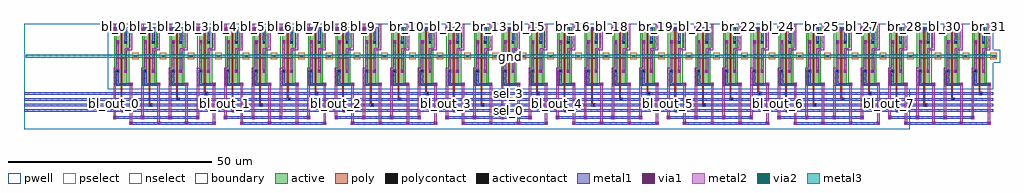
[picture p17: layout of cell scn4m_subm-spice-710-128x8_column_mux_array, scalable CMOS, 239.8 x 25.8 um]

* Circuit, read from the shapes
.subckt scn4m_subm-spice-710-128x8_column_mux_array bl_0 bl_1 bl_10 bl_11 bl_12 bl_13 bl_14 bl_15 bl_16 bl_17 bl_18 bl_19 bl_2 bl_20 bl_21 bl_22 bl_23 bl_24 bl_25 bl_26 bl_27 bl_28 bl_29 bl_3 bl_30 bl_31 bl_4 bl_5 bl_6 bl_7 bl_8 bl_9 bl_out_0 bl_out_1 bl_out_2 bl_out_3 bl_out_4 bl_out_5 bl_out_6 bl_out_7 br_0 br_1 br_10 br_11 br_12 br_13 br_14 br_15 br_16 br_17 br_18 br_19 br_2 br_20 br_21 br_22 br_23 br_24 br_25 br_26 br_27 br_28 br_29 br_3 br_30 br_31 br_4 br_5 br_6 br_7 br_8 br_9 br_out_0 br_out_1 br_out_2 br_out_3 br_out_4 br_out_5 br_out_6 br_out_7 gnd sel_0 sel_1 sel_2 sel_3
M1 br_0 sel_0 br_out_0 gnd nfet w=6.4u l=0.4u
M2 bl_0 sel_0 bl_out_0 gnd nfet w=6.4u l=0.4u
M3 br_1 sel_1 br_out_0 gnd nfet w=6.4u l=0.4u
M4 bl_1 sel_1 bl_out_0 gnd nfet w=6.4u l=0.4u
M5 br_2 sel_2 br_out_0 gnd nfet w=6.4u l=0.4u
M6 bl_2 sel_2 bl_out_0 gnd nfet w=6.4u l=0.4u
M7 br_3 sel_3 br_out_0 gnd nfet w=6.4u l=0.4u
M8 bl_3 sel_3 bl_out_0 gnd nfet w=6.4u l=0.4u
M9 br_4 sel_0 br_out_1 gnd nfet w=6.4u l=0.4u
M10 bl_4 sel_0 bl_out_1 gnd nfet w=6.4u l=0.4u
M11 br_5 sel_1 br_out_1 gnd nfet w=6.4u l=0.4u
M12 bl_5 sel_1 bl_out_1 gnd nfet w=6.4u l=0.4u
M13 br_6 sel_2 br_out_1 gnd nfet w=6.4u l=0.4u
M14 bl_6 sel_2 bl_out_1 gnd nfet w=6.4u l=0.4u
M15 br_7 sel_3 br_out_1 gnd nfet w=6.4u l=0.4u
M16 bl_7 sel_3 bl_out_1 gnd nfet w=6.4u l=0.4u
M17 br_8 sel_0 br_out_2 gnd nfet w=6.4u l=0.4u
M18 bl_8 sel_0 bl_out_2 gnd nfet w=6.4u l=0.4u
M19 br_9 sel_1 br_out_2 gnd nfet w=6.4u l=0.4u
M20 bl_9 sel_1 bl_out_2 gnd nfet w=6.4u l=0.4u
M21 br_10 sel_2 br_out_2 gnd nfet w=6.4u l=0.4u
M22 bl_10 sel_2 bl_out_2 gnd nfet w=6.4u l=0.4u
M23 br_11 sel_3 br_out_2 gnd nfet w=6.4u l=0.4u
M24 bl_11 sel_3 bl_out_2 gnd nfet w=6.4u l=0.4u
M25 br_12 sel_0 br_out_3 gnd nfet w=6.4u l=0.4u
M26 bl_12 sel_0 bl_out_3 gnd nfet w=6.4u l=0.4u
M27 br_13 sel_1 br_out_3 gnd nfet w=6.4u l=0.4u
M28 bl_13 sel_1 bl_out_3 gnd nfet w=6.4u l=0.4u
M29 br_14 sel_2 br_out_3 gnd nfet w=6.4u l=0.4u
M30 bl_14 sel_2 bl_out_3 gnd nfet w=6.4u l=0.4u
M31 br_15 sel_3 br_out_3 gnd nfet w=6.4u l=0.4u
M32 bl_15 sel_3 bl_out_3 gnd nfet w=6.4u l=0.4u
M33 br_16 sel_0 br_out_4 gnd nfet w=6.4u l=0.4u
M34 bl_16 sel_0 bl_out_4 gnd nfet w=6.4u l=0.4u
M35 br_17 sel_1 br_out_4 gnd nfet w=6.4u l=0.4u
M36 bl_17 sel_1 bl_out_4 gnd nfet w=6.4u l=0.4u
M37 br_18 sel_2 br_out_4 gnd nfet w=6.4u l=0.4u
M38 bl_18 sel_2 bl_out_4 gnd nfet w=6.4u l=0.4u
M39 br_19 sel_3 br_out_4 gnd nfet w=6.4u l=0.4u
M40 bl_19 sel_3 bl_out_4 gnd nfet w=6.4u l=0.4u
M41 br_20 sel_0 br_out_5 gnd nfet w=6.4u l=0.4u
M42 bl_20 sel_0 bl_out_5 gnd nfet w=6.4u l=0.4u
M43 br_21 sel_1 br_out_5 gnd nfet w=6.4u l=0.4u
M44 bl_21 sel_1 bl_out_5 gnd nfet w=6.4u l=0.4u
M45 br_22 sel_2 br_out_5 gnd nfet w=6.4u l=0.4u
M46 bl_22 sel_2 bl_out_5 gnd nfet w=6.4u l=0.4u
M47 br_23 sel_3 br_out_5 gnd nfet w=6.4u l=0.4u
M48 bl_23 sel_3 bl_out_5 gnd nfet w=6.4u l=0.4u
M49 br_24 sel_0 br_out_6 gnd nfet w=6.4u l=0.4u
M50 bl_24 sel_0 bl_out_6 gnd nfet w=6.4u l=0.4u
M51 br_25 sel_1 br_out_6 gnd nfet w=6.4u l=0.4u
M52 bl_25 sel_1 bl_out_6 gnd nfet w=6.4u l=0.4u
M53 br_26 sel_2 br_out_6 gnd nfet w=6.4u l=0.4u
M54 bl_26 sel_2 bl_out_6 gnd nfet w=6.4u l=0.4u
M55 br_27 sel_3 br_out_6 gnd nfet w=6.4u l=0.4u
M56 bl_27 sel_3 bl_out_6 gnd nfet w=6.4u l=0.4u
M57 br_28 sel_0 br_out_7 gnd nfet w=6.4u l=0.4u
M58 bl_28 sel_0 bl_out_7 gnd nfet w=6.4u l=0.4u
M59 br_29 sel_1 br_out_7 gnd nfet w=6.4u l=0.4u
M60 bl_29 sel_1 bl_out_7 gnd nfet w=6.4u l=0.4u
M61 br_30 sel_2 br_out_7 gnd nfet w=6.4u l=0.4u
M62 bl_30 sel_2 bl_out_7 gnd nfet w=6.4u l=0.4u
M63 br_31 sel_3 br_out_7 gnd nfet w=6.4u l=0.4u
M64 bl_31 sel_3 bl_out_7 gnd nfet w=6.4u l=0.4u
.ends

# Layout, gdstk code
import gdstk
lib = gdstk.Library(unit=1e-6, precision=1e-09)
def R(c, l, rs):  # rectangles x0, y0, x1, y1
    for r in rs: c.add(gdstk.rectangle(r[:2], r[2:], *l))
def A(c, l, x, y, w, h, nx, ny, dx, dy):  # array of equal rectangles
    R(c, l, [(x+i*dx, y+j*dy, x+i*dx+w, y+j*dy+h) for i in range(nx) for j in range(ny)])
pwell = (41, 0)
active = (43, 0)
pselect = (44, 0)
nselect = (45, 0)
poly = (46, 0)
polycontact = (47, 0)
activecontact = (48, 0)
metal1 = (49, 0)
via1 = (50, 0)
metal2 = (51, 0)
via2 = (61, 0)
metal3 = (62, 0)
boundary = (63, 0)

scn4m_subm_spice_710_128 = lib.new_cell('scn4m_subm-spice-710-128x8_contact_11')
R(scn4m_subm_spice_710_128, pwell, [(-1.2,-1.2,2,2)])
R(scn4m_subm_spice_710_128, active, [(0,0,0.8,0.8)])
R(scn4m_subm_spice_710_128, nselect, [(-0.4,-0.4,1.2,1.2)])
R(scn4m_subm_spice_710_128, activecontact, [(0.2,0.2,0.6,0.6)])
R(scn4m_subm_spice_710_128, metal1, [(0,0,0.8,0.8)])
R(scn4m_subm_spice_710_128, boundary, [(-1.2,-1.2,2,2)])

c_scn4m_subm_spice_710_128 = lib.new_cell('scn4m_subm-spice-710-128x8_nmos_m1_w6_400_sm1_dm1')
R(c_scn4m_subm_spice_710_128, pwell, [(-1.2,-1.2,4,7.6)])
R(c_scn4m_subm_spice_710_128, active, [(0,0,2.8,6.4)])
R(c_scn4m_subm_spice_710_128, nselect, [(-0.4,-0.4,3.2,6.8)])
R(c_scn4m_subm_spice_710_128, poly, [(1.2,-0.4,1.6,6.8), (1.2,-0.4,1.6,6.8)])
R(c_scn4m_subm_spice_710_128, metal1, [(0,2.8,0.8,3.6), (2,2.8,2.8,3.6)])
R(c_scn4m_subm_spice_710_128, boundary, [(-1.2,-1.2,4,7.6)])
c_scn4m_subm_spice_710_128.add(gdstk.Reference(scn4m_subm_spice_710_128, (0,2.8)))
c_scn4m_subm_spice_710_128.add(gdstk.Reference(scn4m_subm_spice_710_128, (2,2.8)))
c_scn4m_subm_spice_710_128.add(gdstk.Label('G', (1.4,3.2), layer=46, texttype=0))
c_scn4m_subm_spice_710_128.add(gdstk.Label('S', (0.4,3.2), layer=49, texttype=0))
c_scn4m_subm_spice_710_128.add(gdstk.Label('D', (2.4,3.2), layer=49, texttype=0))

c_scn4m_subm_spice_710_128_ = lib.new_cell('scn4m_subm-spice-710-128x8_contact_18')
R(c_scn4m_subm_spice_710_128_, metal1, [(0,0,0.8,0.8)])
R(c_scn4m_subm_spice_710_128_, via1, [(0.2,0.2,0.6,0.6)])
R(c_scn4m_subm_spice_710_128_, metal2, [(0,0,0.8,0.8)])
R(c_scn4m_subm_spice_710_128_, boundary, [(0,0,0.8,0.8)])

c_scn4m_subm_spice_710_128__ = lib.new_cell('scn4m_subm-spice-710-128x8_contact_25')
R(c_scn4m_subm_spice_710_128__, pwell, [(-1.2,-1.2,2,2)])
R(c_scn4m_subm_spice_710_128__, active, [(0,0,0.8,0.8)])
R(c_scn4m_subm_spice_710_128__, pselect, [(-0.4,-0.4,1.2,1.2)])
R(c_scn4m_subm_spice_710_128__, activecontact, [(0.2,0.2,0.6,0.6)])
R(c_scn4m_subm_spice_710_128__, metal1, [(0,0,0.8,0.8)])
R(c_scn4m_subm_spice_710_128__, boundary, [(-1.2,-1.2,2,2)])

c_scn4m_subm_spice_710_128___ = lib.new_cell('scn4m_subm-spice-710-128x8_column_mux')
R(c_scn4m_subm_spice_710_128___, pwell, [(0,0,6.8,16)])
R(c_scn4m_subm_spice_710_128___, poly, [(3.2,0.8,3.6,1.2), (3.2,7.6,3.6,8.4)])
R(c_scn4m_subm_spice_710_128___, metal1, [(2.1,0.9,2.7,1.5), (2.4,0.9,5.7,1.5), (2.1,1.2,2.7,4.4), (6.5,7.8,7.1,8.4), (4.1,11.6,4.7,14.8), (1.4,14.5,4.4,15.1), (4.1,14.5,4.7,15.1)])
R(c_scn4m_subm_spice_710_128___, metal2, [(1.4,0,2,1.2), (5.4,0,6,1.2), (1.4,1.2,2,5), (4.1,4.4,4.7,9.8), (1.4,4.7,2,5.3), (1.7,4.7,2.4,5.3), (2.1,4.7,2.7,5.3), (2.1,5,2.7,11.6), (4.1,9.5,4.7,10.1), (4.4,9.5,5.7,10.1), (5.4,9.5,6,10.1), (5.4,9.8,6,14.8), (1.4,14.8,2,16), (5.4,14.8,6,16)])
R(c_scn4m_subm_spice_710_128___, boundary, [(0,0,6.8,16)])
c_scn4m_subm_spice_710_128___.add(gdstk.Reference(c_scn4m_subm_spice_710_128, (2,1.2)))
c_scn4m_subm_spice_710_128___.add(gdstk.Reference(c_scn4m_subm_spice_710_128, (2,8.4)))
c_scn4m_subm_spice_710_128___.add(gdstk.Reference(c_scn4m_subm_spice_710_128_, (1.3,14.4)))
c_scn4m_subm_spice_710_128___.add(gdstk.Reference(c_scn4m_subm_spice_710_128_, (5.3,0.8)))
c_scn4m_subm_spice_710_128___.add(gdstk.Reference(c_scn4m_subm_spice_710_128_, (2,11.2)))
c_scn4m_subm_spice_710_128___.add(gdstk.Reference(c_scn4m_subm_spice_710_128_, (4,4)))
c_scn4m_subm_spice_710_128___.add(gdstk.Reference(c_scn4m_subm_spice_710_128__, (6.4,7.7)))
c_scn4m_subm_spice_710_128___.add(gdstk.Reference(c_scn4m_subm_spice_710_128_, (6.4,7.7)))
c_scn4m_subm_spice_710_128___.add(gdstk.Label('sel', (3.4,1), layer=46, texttype=0))
c_scn4m_subm_spice_710_128___.add(gdstk.Label('bl', (1.7,15.4), layer=51, texttype=0))
c_scn4m_subm_spice_710_128___.add(gdstk.Label('br', (5.7,15.4), layer=51, texttype=0))
c_scn4m_subm_spice_710_128___.add(gdstk.Label('bl_out', (1.7,0.6), layer=51, texttype=0))
c_scn4m_subm_spice_710_128___.add(gdstk.Label('br_out', (5.7,0.6), layer=51, texttype=0))
c_scn4m_subm_spice_710_128___.add(gdstk.Label('gnd', (6.8,8.1), layer=49, texttype=0))

c_scn4m_subm_spice_710_128____ = lib.new_cell('scn4m_subm-spice-710-128x8_contact_26')
R(c_scn4m_subm_spice_710_128____, poly, [(0,0,0.8,0.8)])
R(c_scn4m_subm_spice_710_128____, polycontact, [(0.2,0.2,0.6,0.6)])
R(c_scn4m_subm_spice_710_128____, metal1, [(0,0,0.8,0.8)])
R(c_scn4m_subm_spice_710_128____, boundary, [(0,0,0.8,0.8)])

c_scn4m_subm_spice_710_128_____ = lib.new_cell('scn4m_subm-spice-710-128x8_contact_16')
R(c_scn4m_subm_spice_710_128_____, metal1, [(0,0,0.8,0.8)])
R(c_scn4m_subm_spice_710_128_____, via1, [(0.2,0.2,0.6,0.6)])
R(c_scn4m_subm_spice_710_128_____, metal2, [(0,0,0.8,0.8)])
R(c_scn4m_subm_spice_710_128_____, boundary, [(0,0,0.8,0.8)])

c_scn4m_subm_spice_710_128______ = lib.new_cell('scn4m_subm-spice-710-128x8_contact_19')
R(c_scn4m_subm_spice_710_128______, metal2, [(0,0,0.8,0.8)])
R(c_scn4m_subm_spice_710_128______, via2, [(0.2,0.2,0.6,0.6)])
R(c_scn4m_subm_spice_710_128______, metal3, [(0,0,0.8,0.8)])
R(c_scn4m_subm_spice_710_128______, boundary, [(0,0,0.8,0.8)])

c_scn4m_subm_spice_710_128_______ = lib.new_cell('scn4m_subm-spice-710-128x8_column_mux_array')
R(c_scn4m_subm_spice_710_128_______, pwell, [(20.6,9.8,238.2,25.8)])
A(c_scn4m_subm_spice_710_128_______, poly, 23.8, 4.3, 0.4, 0.4, 8, 1, 27.2, 0)
A(c_scn4m_subm_spice_710_128_______, poly, 24, 4.3, 0.3, 0.4, 8, 1, 27.2, 0)
A(c_scn4m_subm_spice_710_128_______, poly, 30.6, 5.7, 0.4, 0.4, 8, 1, 27.2, 0)
A(c_scn4m_subm_spice_710_128_______, poly, 30.8, 5.7, 0.3, 0.4, 8, 1, 27.2, 0)
A(c_scn4m_subm_spice_710_128_______, poly, 37.4, 7.1, 0.4, 0.4, 8, 1, 27.2, 0)
A(c_scn4m_subm_spice_710_128_______, poly, 37.6, 7.1, 0.3, 0.4, 8, 1, 27.2, 0)
A(c_scn4m_subm_spice_710_128_______, poly, 44.2, 8.5, 0.4, 0.4, 8, 1, 27.2, 0)
A(c_scn4m_subm_spice_710_128_______, poly, 44.4, 8.5, 0.3, 0.4, 8, 1, 27.2, 0)
R(c_scn4m_subm_spice_710_128_______, poly, [(23.8,4.5,24.2,10.6), (23.8,4.5,24.2,10.6), (51,4.5,51.4,10.6), (51,4.5,51.4,10.6), (78.2,4.5,78.6,10.6), (78.2,4.5,78.6,10.6), (105.4,4.5,105.8,10.6), (105.4,4.5,105.8,10.6), (132.6,4.5,133,10.6), (132.6,4.5,133,10.6), (159.8,4.5,160.2,10.6), (159.8,4.5,160.2,10.6), (187,4.5,187.4,10.6), (187,4.5,187.4,10.6), (214.2,4.5,214.6,10.6), (214.2,4.5,214.6,10.6), (30.6,5.9,31,10.6), (30.6,5.9,31,10.6), (57.8,5.9,58.2,10.6), (57.8,5.9,58.2,10.6), (85,5.9,85.4,10.6), (85,5.9,85.4,10.6), (112.2,5.9,112.6,10.6), (112.2,5.9,112.6,10.6), (139.4,5.9,139.8,10.6), (139.4,5.9,139.8,10.6), (166.6,5.9,167,10.6), (166.6,5.9,167,10.6), (193.8,5.9,194.2,10.6), (193.8,5.9,194.2,10.6), (221,5.9,221.4,10.6), (221,5.9,221.4,10.6), (37.4,7.3,37.8,10.6), (37.4,7.3,37.8,10.6), (64.6,7.3,65,10.6), (64.6,7.3,65,10.6), (91.8,7.3,92.2,10.6), (91.8,7.3,92.2,10.6), (119,7.3,119.4,10.6), (119,7.3,119.4,10.6), (146.2,7.3,146.6,10.6), (146.2,7.3,146.6,10.6), (173.4,7.3,173.8,10.6), (173.4,7.3,173.8,10.6), (200.6,7.3,201,10.6), (200.6,7.3,201,10.6), (227.8,7.3,228.2,10.6), (227.8,7.3,228.2,10.6), (44.2,8.7,44.6,10.6), (44.2,8.7,44.6,10.6), (71.4,8.7,71.8,10.6), (71.4,8.7,71.8,10.6), (98.6,8.7,99,10.6), (98.6,8.7,99,10.6), (125.8,8.7,126.2,10.6), (125.8,8.7,126.2,10.6), (153,8.7,153.4,10.6), (153,8.7,153.4,10.6), (180.2,8.7,180.6,10.6), (180.2,8.7,180.6,10.6), (207.4,8.7,207.8,10.6), (207.4,8.7,207.8,10.6), (234.6,8.7,235,10.6), (234.6,8.7,235,10.6)])
A(c_scn4m_subm_spice_710_128_______, metal1, 26.3, 1.1, 20.4, 0.6, 8, 1, 27.2, 0)
A(c_scn4m_subm_spice_710_128_______, metal1, 22.3, 2.5, 20.4, 0.6, 8, 1, 27.2, 0)
A(c_scn4m_subm_spice_710_128_______, metal1, 0, 4.2, 238.2, 0.6, 1, 4, 0, 1.4)
A(c_scn4m_subm_spice_710_128_______, metal2, 26, 1.4, 0.6, 8.4, 32, 1, 6.8, 0)
A(c_scn4m_subm_spice_710_128_______, metal2, 22, 2.8, 0.6, 7, 32, 1, 6.8, 0)
R(c_scn4m_subm_spice_710_128_______, metal2, [(22,24.6,22.6,25.8), (26,24.6,26.6,25.8), (28.8,24.6,29.4,25.8), (32.8,24.6,33.4,25.8), (35.6,24.6,36.2,25.8), (39.6,24.6,40.2,25.8), (42.4,24.6,43,25.8), (46.4,24.6,47,25.8), (49.2,24.6,49.8,25.8), (53.2,24.6,53.8,25.8), (56,24.6,56.6,25.8), (60,24.6,60.6,25.8), (62.8,24.6,63.4,25.8), (66.8,24.6,67.4,25.8), (69.6,24.6,70.2,25.8), (73.6,24.6,74.2,25.8), (76.4,24.6,77,25.8), (80.4,24.6,81,25.8), (83.2,24.6,83.8,25.8), (87.2,24.6,87.8,25.8), (90,24.6,90.6,25.8), (94,24.6,94.6,25.8), (96.8,24.6,97.4,25.8), (100.8,24.6,101.4,25.8), (103.6,24.6,104.2,25.8), (107.6,24.6,108.2,25.8), (110.4,24.6,111,25.8), (114.4,24.6,115,25.8), (117.2,24.6,117.8,25.8), (121.2,24.6,121.8,25.8), (124,24.6,124.6,25.8), (128,24.6,128.6,25.8), (130.8,24.6,131.4,25.8), (134.8,24.6,135.4,25.8), (137.6,24.6,138.2,25.8), (141.6,24.6,142.2,25.8), (144.4,24.6,145,25.8), (148.4,24.6,149,25.8), (151.2,24.6,151.8,25.8), (155.2,24.6,155.8,25.8), (158,24.6,158.6,25.8), (162,24.6,162.6,25.8), (164.8,24.6,165.4,25.8), (168.8,24.6,169.4,25.8), (171.6,24.6,172.2,25.8), (175.6,24.6,176.2,25.8), (178.4,24.6,179,25.8), (182.4,24.6,183,25.8), (185.2,24.6,185.8,25.8), (189.2,24.6,189.8,25.8), (192,24.6,192.6,25.8), (196,24.6,196.6,25.8), (198.8,24.6,199.4,25.8), (202.8,24.6,203.4,25.8), (205.6,24.6,206.2,25.8), (209.6,24.6,210.2,25.8), (212.4,24.6,213,25.8), (216.4,24.6,217,25.8), (219.2,24.6,219.8,25.8), (223.2,24.6,223.8,25.8), (226,24.6,226.6,25.8), (230,24.6,230.6,25.8), (232.8,24.6,233.4,25.8), (236.8,24.6,237.4,25.8)])
R(c_scn4m_subm_spice_710_128_______, metal3, [(0.4,17.5,238.9,18.3)])
R(c_scn4m_subm_spice_710_128_______, boundary, [(0,0,217.6,25.8)])
c_scn4m_subm_spice_710_128_______.add(gdstk.Reference(c_scn4m_subm_spice_710_128___, (20.6,9.8)))
c_scn4m_subm_spice_710_128_______.add(gdstk.Reference(c_scn4m_subm_spice_710_128___, (27.4,9.8)))
c_scn4m_subm_spice_710_128_______.add(gdstk.Reference(c_scn4m_subm_spice_710_128___, (34.2,9.8)))
c_scn4m_subm_spice_710_128_______.add(gdstk.Reference(c_scn4m_subm_spice_710_128___, (41,9.8)))
c_scn4m_subm_spice_710_128_______.add(gdstk.Reference(c_scn4m_subm_spice_710_128___, (47.8,9.8)))
c_scn4m_subm_spice_710_128_______.add(gdstk.Reference(c_scn4m_subm_spice_710_128___, (54.6,9.8)))
c_scn4m_subm_spice_710_128_______.add(gdstk.Reference(c_scn4m_subm_spice_710_128___, (61.4,9.8)))
c_scn4m_subm_spice_710_128_______.add(gdstk.Reference(c_scn4m_subm_spice_710_128___, (68.2,9.8)))
c_scn4m_subm_spice_710_128_______.add(gdstk.Reference(c_scn4m_subm_spice_710_128___, (75,9.8)))
c_scn4m_subm_spice_710_128_______.add(gdstk.Reference(c_scn4m_subm_spice_710_128___, (81.8,9.8)))
c_scn4m_subm_spice_710_128_______.add(gdstk.Reference(c_scn4m_subm_spice_710_128___, (88.6,9.8)))
c_scn4m_subm_spice_710_128_______.add(gdstk.Reference(c_scn4m_subm_spice_710_128___, (95.4,9.8)))
c_scn4m_subm_spice_710_128_______.add(gdstk.Reference(c_scn4m_subm_spice_710_128___, (102.2,9.8)))
c_scn4m_subm_spice_710_128_______.add(gdstk.Reference(c_scn4m_subm_spice_710_128___, (109,9.8)))
c_scn4m_subm_spice_710_128_______.add(gdstk.Reference(c_scn4m_subm_spice_710_128___, (115.8,9.8)))
c_scn4m_subm_spice_710_128_______.add(gdstk.Reference(c_scn4m_subm_spice_710_128___, (122.6,9.8)))
c_scn4m_subm_spice_710_128_______.add(gdstk.Reference(c_scn4m_subm_spice_710_128___, (129.4,9.8)))
c_scn4m_subm_spice_710_128_______.add(gdstk.Reference(c_scn4m_subm_spice_710_128___, (136.2,9.8)))
c_scn4m_subm_spice_710_128_______.add(gdstk.Reference(c_scn4m_subm_spice_710_128___, (143,9.8)))
c_scn4m_subm_spice_710_128_______.add(gdstk.Reference(c_scn4m_subm_spice_710_128___, (149.8,9.8)))
c_scn4m_subm_spice_710_128_______.add(gdstk.Reference(c_scn4m_subm_spice_710_128___, (156.6,9.8)))
c_scn4m_subm_spice_710_128_______.add(gdstk.Reference(c_scn4m_subm_spice_710_128___, (163.4,9.8)))
c_scn4m_subm_spice_710_128_______.add(gdstk.Reference(c_scn4m_subm_spice_710_128___, (170.2,9.8)))
c_scn4m_subm_spice_710_128_______.add(gdstk.Reference(c_scn4m_subm_spice_710_128___, (177,9.8)))
c_scn4m_subm_spice_710_128_______.add(gdstk.Reference(c_scn4m_subm_spice_710_128___, (183.8,9.8)))
c_scn4m_subm_spice_710_128_______.add(gdstk.Reference(c_scn4m_subm_spice_710_128___, (190.6,9.8)))
c_scn4m_subm_spice_710_128_______.add(gdstk.Reference(c_scn4m_subm_spice_710_128___, (197.4,9.8)))
c_scn4m_subm_spice_710_128_______.add(gdstk.Reference(c_scn4m_subm_spice_710_128___, (204.2,9.8)))
c_scn4m_subm_spice_710_128_______.add(gdstk.Reference(c_scn4m_subm_spice_710_128___, (211,9.8)))
c_scn4m_subm_spice_710_128_______.add(gdstk.Reference(c_scn4m_subm_spice_710_128___, (217.8,9.8)))
c_scn4m_subm_spice_710_128_______.add(gdstk.Reference(c_scn4m_subm_spice_710_128___, (224.6,9.8)))
c_scn4m_subm_spice_710_128_______.add(gdstk.Reference(c_scn4m_subm_spice_710_128___, (231.4,9.8)))
c_scn4m_subm_spice_710_128_______.add(gdstk.Reference(c_scn4m_subm_spice_710_128____, (23.9,4.1)))
c_scn4m_subm_spice_710_128_______.add(gdstk.Reference(c_scn4m_subm_spice_710_128____, (30.7,5.5)))
c_scn4m_subm_spice_710_128_______.add(gdstk.Reference(c_scn4m_subm_spice_710_128____, (37.5,6.9)))
c_scn4m_subm_spice_710_128_______.add(gdstk.Reference(c_scn4m_subm_spice_710_128____, (44.3,8.3)))
c_scn4m_subm_spice_710_128_______.add(gdstk.Reference(c_scn4m_subm_spice_710_128____, (51.1,4.1)))
c_scn4m_subm_spice_710_128_______.add(gdstk.Reference(c_scn4m_subm_spice_710_128____, (57.9,5.5)))
c_scn4m_subm_spice_710_128_______.add(gdstk.Reference(c_scn4m_subm_spice_710_128____, (64.7,6.9)))
c_scn4m_subm_spice_710_128_______.add(gdstk.Reference(c_scn4m_subm_spice_710_128____, (71.5,8.3)))
c_scn4m_subm_spice_710_128_______.add(gdstk.Reference(c_scn4m_subm_spice_710_128____, (78.3,4.1)))
c_scn4m_subm_spice_710_128_______.add(gdstk.Reference(c_scn4m_subm_spice_710_128____, (85.1,5.5)))
c_scn4m_subm_spice_710_128_______.add(gdstk.Reference(c_scn4m_subm_spice_710_128____, (91.9,6.9)))
c_scn4m_subm_spice_710_128_______.add(gdstk.Reference(c_scn4m_subm_spice_710_128____, (98.7,8.3)))
c_scn4m_subm_spice_710_128_______.add(gdstk.Reference(c_scn4m_subm_spice_710_128____, (105.5,4.1)))
c_scn4m_subm_spice_710_128_______.add(gdstk.Reference(c_scn4m_subm_spice_710_128____, (112.3,5.5)))
c_scn4m_subm_spice_710_128_______.add(gdstk.Reference(c_scn4m_subm_spice_710_128____, (119.1,6.9)))
c_scn4m_subm_spice_710_128_______.add(gdstk.Reference(c_scn4m_subm_spice_710_128____, (125.9,8.3)))
c_scn4m_subm_spice_710_128_______.add(gdstk.Reference(c_scn4m_subm_spice_710_128____, (132.7,4.1)))
c_scn4m_subm_spice_710_128_______.add(gdstk.Reference(c_scn4m_subm_spice_710_128____, (139.5,5.5)))
c_scn4m_subm_spice_710_128_______.add(gdstk.Reference(c_scn4m_subm_spice_710_128____, (146.3,6.9)))
c_scn4m_subm_spice_710_128_______.add(gdstk.Reference(c_scn4m_subm_spice_710_128____, (153.1,8.3)))
c_scn4m_subm_spice_710_128_______.add(gdstk.Reference(c_scn4m_subm_spice_710_128____, (159.9,4.1)))
c_scn4m_subm_spice_710_128_______.add(gdstk.Reference(c_scn4m_subm_spice_710_128____, (166.7,5.5)))
c_scn4m_subm_spice_710_128_______.add(gdstk.Reference(c_scn4m_subm_spice_710_128____, (173.5,6.9)))
c_scn4m_subm_spice_710_128_______.add(gdstk.Reference(c_scn4m_subm_spice_710_128____, (180.3,8.3)))
c_scn4m_subm_spice_710_128_______.add(gdstk.Reference(c_scn4m_subm_spice_710_128____, (187.1,4.1)))
c_scn4m_subm_spice_710_128_______.add(gdstk.Reference(c_scn4m_subm_spice_710_128____, (193.9,5.5)))
c_scn4m_subm_spice_710_128_______.add(gdstk.Reference(c_scn4m_subm_spice_710_128____, (200.7,6.9)))
c_scn4m_subm_spice_710_128_______.add(gdstk.Reference(c_scn4m_subm_spice_710_128____, (207.5,8.3)))
c_scn4m_subm_spice_710_128_______.add(gdstk.Reference(c_scn4m_subm_spice_710_128____, (214.3,4.1)))
c_scn4m_subm_spice_710_128_______.add(gdstk.Reference(c_scn4m_subm_spice_710_128____, (221.1,5.5)))
c_scn4m_subm_spice_710_128_______.add(gdstk.Reference(c_scn4m_subm_spice_710_128____, (227.9,6.9)))
c_scn4m_subm_spice_710_128_______.add(gdstk.Reference(c_scn4m_subm_spice_710_128____, (234.7,8.3)))
c_scn4m_subm_spice_710_128_______.add(gdstk.Reference(c_scn4m_subm_spice_710_128_____, (21.9,2.4)))
c_scn4m_subm_spice_710_128_______.add(gdstk.Reference(c_scn4m_subm_spice_710_128_____, (25.9,1)))
c_scn4m_subm_spice_710_128_______.add(gdstk.Reference(c_scn4m_subm_spice_710_128_____, (28.7,2.4)))
c_scn4m_subm_spice_710_128_______.add(gdstk.Reference(c_scn4m_subm_spice_710_128_____, (32.7,1)))
c_scn4m_subm_spice_710_128_______.add(gdstk.Reference(c_scn4m_subm_spice_710_128_____, (35.5,2.4)))
c_scn4m_subm_spice_710_128_______.add(gdstk.Reference(c_scn4m_subm_spice_710_128_____, (39.5,1)))
c_scn4m_subm_spice_710_128_______.add(gdstk.Reference(c_scn4m_subm_spice_710_128_____, (42.3,2.4)))
c_scn4m_subm_spice_710_128_______.add(gdstk.Reference(c_scn4m_subm_spice_710_128_____, (46.3,1)))
c_scn4m_subm_spice_710_128_______.add(gdstk.Reference(c_scn4m_subm_spice_710_128_____, (49.1,2.4)))
c_scn4m_subm_spice_710_128_______.add(gdstk.Reference(c_scn4m_subm_spice_710_128_____, (53.1,1)))
c_scn4m_subm_spice_710_128_______.add(gdstk.Reference(c_scn4m_subm_spice_710_128_____, (55.9,2.4)))
c_scn4m_subm_spice_710_128_______.add(gdstk.Reference(c_scn4m_subm_spice_710_128_____, (59.9,1)))
c_scn4m_subm_spice_710_128_______.add(gdstk.Reference(c_scn4m_subm_spice_710_128_____, (62.7,2.4)))
c_scn4m_subm_spice_710_128_______.add(gdstk.Reference(c_scn4m_subm_spice_710_128_____, (66.7,1)))
c_scn4m_subm_spice_710_128_______.add(gdstk.Reference(c_scn4m_subm_spice_710_128_____, (69.5,2.4)))
c_scn4m_subm_spice_710_128_______.add(gdstk.Reference(c_scn4m_subm_spice_710_128_____, (73.5,1)))
c_scn4m_subm_spice_710_128_______.add(gdstk.Reference(c_scn4m_subm_spice_710_128_____, (76.3,2.4)))
c_scn4m_subm_spice_710_128_______.add(gdstk.Reference(c_scn4m_subm_spice_710_128_____, (80.3,1)))
c_scn4m_subm_spice_710_128_______.add(gdstk.Reference(c_scn4m_subm_spice_710_128_____, (83.1,2.4)))
c_scn4m_subm_spice_710_128_______.add(gdstk.Reference(c_scn4m_subm_spice_710_128_____, (87.1,1)))
c_scn4m_subm_spice_710_128_______.add(gdstk.Reference(c_scn4m_subm_spice_710_128_____, (89.9,2.4)))
c_scn4m_subm_spice_710_128_______.add(gdstk.Reference(c_scn4m_subm_spice_710_128_____, (93.9,1)))
c_scn4m_subm_spice_710_128_______.add(gdstk.Reference(c_scn4m_subm_spice_710_128_____, (96.7,2.4)))
c_scn4m_subm_spice_710_128_______.add(gdstk.Reference(c_scn4m_subm_spice_710_128_____, (100.7,1)))
c_scn4m_subm_spice_710_128_______.add(gdstk.Reference(c_scn4m_subm_spice_710_128_____, (103.5,2.4)))
c_scn4m_subm_spice_710_128_______.add(gdstk.Reference(c_scn4m_subm_spice_710_128_____, (107.5,1)))
c_scn4m_subm_spice_710_128_______.add(gdstk.Reference(c_scn4m_subm_spice_710_128_____, (110.3,2.4)))
c_scn4m_subm_spice_710_128_______.add(gdstk.Reference(c_scn4m_subm_spice_710_128_____, (114.3,1)))
c_scn4m_subm_spice_710_128_______.add(gdstk.Reference(c_scn4m_subm_spice_710_128_____, (117.1,2.4)))
c_scn4m_subm_spice_710_128_______.add(gdstk.Reference(c_scn4m_subm_spice_710_128_____, (121.1,1)))
c_scn4m_subm_spice_710_128_______.add(gdstk.Reference(c_scn4m_subm_spice_710_128_____, (123.9,2.4)))
c_scn4m_subm_spice_710_128_______.add(gdstk.Reference(c_scn4m_subm_spice_710_128_____, (127.9,1)))
c_scn4m_subm_spice_710_128_______.add(gdstk.Reference(c_scn4m_subm_spice_710_128_____, (130.7,2.4)))
c_scn4m_subm_spice_710_128_______.add(gdstk.Reference(c_scn4m_subm_spice_710_128_____, (134.7,1)))
c_scn4m_subm_spice_710_128_______.add(gdstk.Reference(c_scn4m_subm_spice_710_128_____, (137.5,2.4)))
c_scn4m_subm_spice_710_128_______.add(gdstk.Reference(c_scn4m_subm_spice_710_128_____, (141.5,1)))
c_scn4m_subm_spice_710_128_______.add(gdstk.Reference(c_scn4m_subm_spice_710_128_____, (144.3,2.4)))
c_scn4m_subm_spice_710_128_______.add(gdstk.Reference(c_scn4m_subm_spice_710_128_____, (148.3,1)))
c_scn4m_subm_spice_710_128_______.add(gdstk.Reference(c_scn4m_subm_spice_710_128_____, (151.1,2.4)))
c_scn4m_subm_spice_710_128_______.add(gdstk.Reference(c_scn4m_subm_spice_710_128_____, (155.1,1)))
c_scn4m_subm_spice_710_128_______.add(gdstk.Reference(c_scn4m_subm_spice_710_128_____, (157.9,2.4)))
c_scn4m_subm_spice_710_128_______.add(gdstk.Reference(c_scn4m_subm_spice_710_128_____, (161.9,1)))
c_scn4m_subm_spice_710_128_______.add(gdstk.Reference(c_scn4m_subm_spice_710_128_____, (164.7,2.4)))
c_scn4m_subm_spice_710_128_______.add(gdstk.Reference(c_scn4m_subm_spice_710_128_____, (168.7,1)))
c_scn4m_subm_spice_710_128_______.add(gdstk.Reference(c_scn4m_subm_spice_710_128_____, (171.5,2.4)))
c_scn4m_subm_spice_710_128_______.add(gdstk.Reference(c_scn4m_subm_spice_710_128_____, (175.5,1)))
c_scn4m_subm_spice_710_128_______.add(gdstk.Reference(c_scn4m_subm_spice_710_128_____, (178.3,2.4)))
c_scn4m_subm_spice_710_128_______.add(gdstk.Reference(c_scn4m_subm_spice_710_128_____, (182.3,1)))
c_scn4m_subm_spice_710_128_______.add(gdstk.Reference(c_scn4m_subm_spice_710_128_____, (185.1,2.4)))
c_scn4m_subm_spice_710_128_______.add(gdstk.Reference(c_scn4m_subm_spice_710_128_____, (189.1,1)))
c_scn4m_subm_spice_710_128_______.add(gdstk.Reference(c_scn4m_subm_spice_710_128_____, (191.9,2.4)))
c_scn4m_subm_spice_710_128_______.add(gdstk.Reference(c_scn4m_subm_spice_710_128_____, (195.9,1)))
c_scn4m_subm_spice_710_128_______.add(gdstk.Reference(c_scn4m_subm_spice_710_128_____, (198.7,2.4)))
c_scn4m_subm_spice_710_128_______.add(gdstk.Reference(c_scn4m_subm_spice_710_128_____, (202.7,1)))
c_scn4m_subm_spice_710_128_______.add(gdstk.Reference(c_scn4m_subm_spice_710_128_____, (205.5,2.4)))
c_scn4m_subm_spice_710_128_______.add(gdstk.Reference(c_scn4m_subm_spice_710_128_____, (209.5,1)))
c_scn4m_subm_spice_710_128_______.add(gdstk.Reference(c_scn4m_subm_spice_710_128_____, (212.3,2.4)))
c_scn4m_subm_spice_710_128_______.add(gdstk.Reference(c_scn4m_subm_spice_710_128_____, (216.3,1)))
c_scn4m_subm_spice_710_128_______.add(gdstk.Reference(c_scn4m_subm_spice_710_128_____, (219.1,2.4)))
c_scn4m_subm_spice_710_128_______.add(gdstk.Reference(c_scn4m_subm_spice_710_128_____, (223.1,1)))
c_scn4m_subm_spice_710_128_______.add(gdstk.Reference(c_scn4m_subm_spice_710_128_____, (225.9,2.4)))
c_scn4m_subm_spice_710_128_______.add(gdstk.Reference(c_scn4m_subm_spice_710_128_____, (229.9,1)))
c_scn4m_subm_spice_710_128_______.add(gdstk.Reference(c_scn4m_subm_spice_710_128_____, (232.7,2.4)))
c_scn4m_subm_spice_710_128_______.add(gdstk.Reference(c_scn4m_subm_spice_710_128_____, (236.7,1)))
c_scn4m_subm_spice_710_128_______.add(gdstk.Reference(c_scn4m_subm_spice_710_128_, (27,17.5)))
c_scn4m_subm_spice_710_128_______.add(gdstk.Reference(c_scn4m_subm_spice_710_128______, (27,17.5)))
c_scn4m_subm_spice_710_128_______.add(gdstk.Reference(c_scn4m_subm_spice_710_128_, (33.8,17.5)))
c_scn4m_subm_spice_710_128_______.add(gdstk.Reference(c_scn4m_subm_spice_710_128______, (33.8,17.5)))
c_scn4m_subm_spice_710_128_______.add(gdstk.Reference(c_scn4m_subm_spice_710_128_, (40.6,17.5)))
c_scn4m_subm_spice_710_128_______.add(gdstk.Reference(c_scn4m_subm_spice_710_128______, (40.6,17.5)))
c_scn4m_subm_spice_710_128_______.add(gdstk.Reference(c_scn4m_subm_spice_710_128_, (47.4,17.5)))
c_scn4m_subm_spice_710_128_______.add(gdstk.Reference(c_scn4m_subm_spice_710_128______, (47.4,17.5)))
c_scn4m_subm_spice_710_128_______.add(gdstk.Reference(c_scn4m_subm_spice_710_128_, (54.2,17.5)))
c_scn4m_subm_spice_710_128_______.add(gdstk.Reference(c_scn4m_subm_spice_710_128______, (54.2,17.5)))
c_scn4m_subm_spice_710_128_______.add(gdstk.Reference(c_scn4m_subm_spice_710_128_, (61,17.5)))
c_scn4m_subm_spice_710_128_______.add(gdstk.Reference(c_scn4m_subm_spice_710_128______, (61,17.5)))
c_scn4m_subm_spice_710_128_______.add(gdstk.Reference(c_scn4m_subm_spice_710_128_, (67.8,17.5)))
c_scn4m_subm_spice_710_128_______.add(gdstk.Reference(c_scn4m_subm_spice_710_128______, (67.8,17.5)))
c_scn4m_subm_spice_710_128_______.add(gdstk.Reference(c_scn4m_subm_spice_710_128_, (74.6,17.5)))
c_scn4m_subm_spice_710_128_______.add(gdstk.Reference(c_scn4m_subm_spice_710_128______, (74.6,17.5)))
c_scn4m_subm_spice_710_128_______.add(gdstk.Reference(c_scn4m_subm_spice_710_128_, (81.4,17.5)))
c_scn4m_subm_spice_710_128_______.add(gdstk.Reference(c_scn4m_subm_spice_710_128______, (81.4,17.5)))
c_scn4m_subm_spice_710_128_______.add(gdstk.Reference(c_scn4m_subm_spice_710_128_, (88.2,17.5)))
c_scn4m_subm_spice_710_128_______.add(gdstk.Reference(c_scn4m_subm_spice_710_128______, (88.2,17.5)))
c_scn4m_subm_spice_710_128_______.add(gdstk.Reference(c_scn4m_subm_spice_710_128_, (95,17.5)))
c_scn4m_subm_spice_710_128_______.add(gdstk.Reference(c_scn4m_subm_spice_710_128______, (95,17.5)))
c_scn4m_subm_spice_710_128_______.add(gdstk.Reference(c_scn4m_subm_spice_710_128_, (101.8,17.5)))
c_scn4m_subm_spice_710_128_______.add(gdstk.Reference(c_scn4m_subm_spice_710_128______, (101.8,17.5)))
c_scn4m_subm_spice_710_128_______.add(gdstk.Reference(c_scn4m_subm_spice_710_128_, (108.6,17.5)))
c_scn4m_subm_spice_710_128_______.add(gdstk.Reference(c_scn4m_subm_spice_710_128______, (108.6,17.5)))
c_scn4m_subm_spice_710_128_______.add(gdstk.Reference(c_scn4m_subm_spice_710_128_, (115.4,17.5)))
c_scn4m_subm_spice_710_128_______.add(gdstk.Reference(c_scn4m_subm_spice_710_128______, (115.4,17.5)))
c_scn4m_subm_spice_710_128_______.add(gdstk.Reference(c_scn4m_subm_spice_710_128_, (122.2,17.5)))
c_scn4m_subm_spice_710_128_______.add(gdstk.Reference(c_scn4m_subm_spice_710_128______, (122.2,17.5)))
c_scn4m_subm_spice_710_128_______.add(gdstk.Reference(c_scn4m_subm_spice_710_128_, (129,17.5)))
c_scn4m_subm_spice_710_128_______.add(gdstk.Reference(c_scn4m_subm_spice_710_128______, (129,17.5)))
c_scn4m_subm_spice_710_128_______.add(gdstk.Reference(c_scn4m_subm_spice_710_128_, (135.8,17.5)))
c_scn4m_subm_spice_710_128_______.add(gdstk.Reference(c_scn4m_subm_spice_710_128______, (135.8,17.5)))
c_scn4m_subm_spice_710_128_______.add(gdstk.Reference(c_scn4m_subm_spice_710_128_, (142.6,17.5)))
c_scn4m_subm_spice_710_128_______.add(gdstk.Reference(c_scn4m_subm_spice_710_128______, (142.6,17.5)))
c_scn4m_subm_spice_710_128_______.add(gdstk.Reference(c_scn4m_subm_spice_710_128_, (149.4,17.5)))
c_scn4m_subm_spice_710_128_______.add(gdstk.Reference(c_scn4m_subm_spice_710_128______, (149.4,17.5)))
c_scn4m_subm_spice_710_128_______.add(gdstk.Reference(c_scn4m_subm_spice_710_128_, (156.2,17.5)))
c_scn4m_subm_spice_710_128_______.add(gdstk.Reference(c_scn4m_subm_spice_710_128______, (156.2,17.5)))
c_scn4m_subm_spice_710_128_______.add(gdstk.Reference(c_scn4m_subm_spice_710_128_, (163,17.5)))
c_scn4m_subm_spice_710_128_______.add(gdstk.Reference(c_scn4m_subm_spice_710_128______, (163,17.5)))
c_scn4m_subm_spice_710_128_______.add(gdstk.Reference(c_scn4m_subm_spice_710_128_, (169.8,17.5)))
c_scn4m_subm_spice_710_128_______.add(gdstk.Reference(c_scn4m_subm_spice_710_128______, (169.8,17.5)))
c_scn4m_subm_spice_710_128_______.add(gdstk.Reference(c_scn4m_subm_spice_710_128_, (176.6,17.5)))
c_scn4m_subm_spice_710_128_______.add(gdstk.Reference(c_scn4m_subm_spice_710_128______, (176.6,17.5)))
c_scn4m_subm_spice_710_128_______.add(gdstk.Reference(c_scn4m_subm_spice_710_128_, (183.4,17.5)))
c_scn4m_subm_spice_710_128_______.add(gdstk.Reference(c_scn4m_subm_spice_710_128______, (183.4,17.5)))
c_scn4m_subm_spice_710_128_______.add(gdstk.Reference(c_scn4m_subm_spice_710_128_, (190.2,17.5)))
c_scn4m_subm_spice_710_128_______.add(gdstk.Reference(c_scn4m_subm_spice_710_128______, (190.2,17.5)))
c_scn4m_subm_spice_710_128_______.add(gdstk.Reference(c_scn4m_subm_spice_710_128_, (197,17.5)))
c_scn4m_subm_spice_710_128_______.add(gdstk.Reference(c_scn4m_subm_spice_710_128______, (197,17.5)))
c_scn4m_subm_spice_710_128_______.add(gdstk.Reference(c_scn4m_subm_spice_710_128_, (203.8,17.5)))
c_scn4m_subm_spice_710_128_______.add(gdstk.Reference(c_scn4m_subm_spice_710_128______, (203.8,17.5)))
c_scn4m_subm_spice_710_128_______.add(gdstk.Reference(c_scn4m_subm_spice_710_128_, (210.6,17.5)))
c_scn4m_subm_spice_710_128_______.add(gdstk.Reference(c_scn4m_subm_spice_710_128______, (210.6,17.5)))
c_scn4m_subm_spice_710_128_______.add(gdstk.Reference(c_scn4m_subm_spice_710_128_, (217.4,17.5)))
c_scn4m_subm_spice_710_128_______.add(gdstk.Reference(c_scn4m_subm_spice_710_128______, (217.4,17.5)))
c_scn4m_subm_spice_710_128_______.add(gdstk.Reference(c_scn4m_subm_spice_710_128_, (224.2,17.5)))
c_scn4m_subm_spice_710_128_______.add(gdstk.Reference(c_scn4m_subm_spice_710_128______, (224.2,17.5)))
c_scn4m_subm_spice_710_128_______.add(gdstk.Reference(c_scn4m_subm_spice_710_128_, (231,17.5)))
c_scn4m_subm_spice_710_128_______.add(gdstk.Reference(c_scn4m_subm_spice_710_128______, (231,17.5)))
c_scn4m_subm_spice_710_128_______.add(gdstk.Reference(c_scn4m_subm_spice_710_128_, (237.8,17.5)))
c_scn4m_subm_spice_710_128_______.add(gdstk.Reference(c_scn4m_subm_spice_710_128______, (237.8,17.5)))
c_scn4m_subm_spice_710_128_______.add(gdstk.Label('sel_0', (119.1,4.5), layer=49, texttype=0))
c_scn4m_subm_spice_710_128_______.add(gdstk.Label('sel_1', (119.1,5.9), layer=49, texttype=0))
c_scn4m_subm_spice_710_128_______.add(gdstk.Label('sel_2', (119.1,7.3), layer=49, texttype=0))
c_scn4m_subm_spice_710_128_______.add(gdstk.Label('sel_3', (119.1,8.7), layer=49, texttype=0))
c_scn4m_subm_spice_710_128_______.add(gdstk.Label('bl_out_0', (22.3,6.3), layer=51, texttype=0))
c_scn4m_subm_spice_710_128_______.add(gdstk.Label('br_out_0', (26.3,5.6), layer=51, texttype=0))
c_scn4m_subm_spice_710_128_______.add(gdstk.Label('bl_out_1', (49.5,6.3), layer=51, texttype=0))
c_scn4m_subm_spice_710_128_______.add(gdstk.Label('br_out_1', (53.5,5.6), layer=51, texttype=0))
c_scn4m_subm_spice_710_128_______.add(gdstk.Label('bl_out_2', (76.7,6.3), layer=51, texttype=0))
c_scn4m_subm_spice_710_128_______.add(gdstk.Label('br_out_2', (80.7,5.6), layer=51, texttype=0))
c_scn4m_subm_spice_710_128_______.add(gdstk.Label('bl_out_3', (103.9,6.3), layer=51, texttype=0))
c_scn4m_subm_spice_710_128_______.add(gdstk.Label('br_out_3', (107.9,5.6), layer=51, texttype=0))
c_scn4m_subm_spice_710_128_______.add(gdstk.Label('bl_out_4', (131.1,6.3), layer=51, texttype=0))
c_scn4m_subm_spice_710_128_______.add(gdstk.Label('br_out_4', (135.1,5.6), layer=51, texttype=0))
c_scn4m_subm_spice_710_128_______.add(gdstk.Label('bl_out_5', (158.3,6.3), layer=51, texttype=0))
c_scn4m_subm_spice_710_128_______.add(gdstk.Label('br_out_5', (162.3,5.6), layer=51, texttype=0))
c_scn4m_subm_spice_710_128_______.add(gdstk.Label('bl_out_6', (185.5,6.3), layer=51, texttype=0))
c_scn4m_subm_spice_710_128_______.add(gdstk.Label('br_out_6', (189.5,5.6), layer=51, texttype=0))
c_scn4m_subm_spice_710_128_______.add(gdstk.Label('bl_out_7', (212.7,6.3), layer=51, texttype=0))
c_scn4m_subm_spice_710_128_______.add(gdstk.Label('br_out_7', (216.7,5.6), layer=51, texttype=0))
c_scn4m_subm_spice_710_128_______.add(gdstk.Label('gnd', (119.65,17.9), layer=62, texttype=0))
c_scn4m_subm_spice_710_128_______.add(gdstk.Label('bl_0', (22.3,25.2), layer=51, texttype=0))
c_scn4m_subm_spice_710_128_______.add(gdstk.Label('br_0', (26.3,25.2), layer=51, texttype=0))
c_scn4m_subm_spice_710_128_______.add(gdstk.Label('bl_1', (29.1,25.2), layer=51, texttype=0))
c_scn4m_subm_spice_710_128_______.add(gdstk.Label('br_1', (33.1,25.2), layer=51, texttype=0))
c_scn4m_subm_spice_710_128_______.add(gdstk.Label('bl_2', (35.9,25.2), layer=51, texttype=0))
c_scn4m_subm_spice_710_128_______.add(gdstk.Label('br_2', (39.9,25.2), layer=51, texttype=0))
c_scn4m_subm_spice_710_128_______.add(gdstk.Label('bl_3', (42.7,25.2), layer=51, texttype=0))
c_scn4m_subm_spice_710_128_______.add(gdstk.Label('br_3', (46.7,25.2), layer=51, texttype=0))
c_scn4m_subm_spice_710_128_______.add(gdstk.Label('bl_4', (49.5,25.2), layer=51, texttype=0))
c_scn4m_subm_spice_710_128_______.add(gdstk.Label('br_4', (53.5,25.2), layer=51, texttype=0))
c_scn4m_subm_spice_710_128_______.add(gdstk.Label('bl_5', (56.3,25.2), layer=51, texttype=0))
c_scn4m_subm_spice_710_128_______.add(gdstk.Label('br_5', (60.3,25.2), layer=51, texttype=0))
c_scn4m_subm_spice_710_128_______.add(gdstk.Label('bl_6', (63.1,25.2), layer=51, texttype=0))
c_scn4m_subm_spice_710_128_______.add(gdstk.Label('br_6', (67.1,25.2), layer=51, texttype=0))
c_scn4m_subm_spice_710_128_______.add(gdstk.Label('bl_7', (69.9,25.2), layer=51, texttype=0))
c_scn4m_subm_spice_710_128_______.add(gdstk.Label('br_7', (73.9,25.2), layer=51, texttype=0))
c_scn4m_subm_spice_710_128_______.add(gdstk.Label('bl_8', (76.7,25.2), layer=51, texttype=0))
c_scn4m_subm_spice_710_128_______.add(gdstk.Label('br_8', (80.7,25.2), layer=51, texttype=0))
c_scn4m_subm_spice_710_128_______.add(gdstk.Label('bl_9', (83.5,25.2), layer=51, texttype=0))
c_scn4m_subm_spice_710_128_______.add(gdstk.Label('br_9', (87.5,25.2), layer=51, texttype=0))
c_scn4m_subm_spice_710_128_______.add(gdstk.Label('bl_10', (90.3,25.2), layer=51, texttype=0))
c_scn4m_subm_spice_710_128_______.add(gdstk.Label('br_10', (94.3,25.2), layer=51, texttype=0))
c_scn4m_subm_spice_710_128_______.add(gdstk.Label('bl_11', (97.1,25.2), layer=51, texttype=0))
c_scn4m_subm_spice_710_128_______.add(gdstk.Label('br_11', (101.1,25.2), layer=51, texttype=0))
c_scn4m_subm_spice_710_128_______.add(gdstk.Label('bl_12', (103.9,25.2), layer=51, texttype=0))
c_scn4m_subm_spice_710_128_______.add(gdstk.Label('br_12', (107.9,25.2), layer=51, texttype=0))
c_scn4m_subm_spice_710_128_______.add(gdstk.Label('bl_13', (110.7,25.2), layer=51, texttype=0))
c_scn4m_subm_spice_710_128_______.add(gdstk.Label('br_13', (114.7,25.2), layer=51, texttype=0))
c_scn4m_subm_spice_710_128_______.add(gdstk.Label('bl_14', (117.5,25.2), layer=51, texttype=0))
c_scn4m_subm_spice_710_128_______.add(gdstk.Label('br_14', (121.5,25.2), layer=51, texttype=0))
c_scn4m_subm_spice_710_128_______.add(gdstk.Label('bl_15', (124.3,25.2), layer=51, texttype=0))
c_scn4m_subm_spice_710_128_______.add(gdstk.Label('br_15', (128.3,25.2), layer=51, texttype=0))
c_scn4m_subm_spice_710_128_______.add(gdstk.Label('bl_16', (131.1,25.2), layer=51, texttype=0))
c_scn4m_subm_spice_710_128_______.add(gdstk.Label('br_16', (135.1,25.2), layer=51, texttype=0))
c_scn4m_subm_spice_710_128_______.add(gdstk.Label('bl_17', (137.9,25.2), layer=51, texttype=0))
c_scn4m_subm_spice_710_128_______.add(gdstk.Label('br_17', (141.9,25.2), layer=51, texttype=0))
c_scn4m_subm_spice_710_128_______.add(gdstk.Label('bl_18', (144.7,25.2), layer=51, texttype=0))
c_scn4m_subm_spice_710_128_______.add(gdstk.Label('br_18', (148.7,25.2), layer=51, texttype=0))
c_scn4m_subm_spice_710_128_______.add(gdstk.Label('bl_19', (151.5,25.2), layer=51, texttype=0))
c_scn4m_subm_spice_710_128_______.add(gdstk.Label('br_19', (155.5,25.2), layer=51, texttype=0))
c_scn4m_subm_spice_710_128_______.add(gdstk.Label('bl_20', (158.3,25.2), layer=51, texttype=0))
c_scn4m_subm_spice_710_128_______.add(gdstk.Label('br_20', (162.3,25.2), layer=51, texttype=0))
c_scn4m_subm_spice_710_128_______.add(gdstk.Label('bl_21', (165.1,25.2), layer=51, texttype=0))
c_scn4m_subm_spice_710_128_______.add(gdstk.Label('br_21', (169.1,25.2), layer=51, texttype=0))
c_scn4m_subm_spice_710_128_______.add(gdstk.Label('bl_22', (171.9,25.2), layer=51, texttype=0))
c_scn4m_subm_spice_710_128_______.add(gdstk.Label('br_22', (175.9,25.2), layer=51, texttype=0))
c_scn4m_subm_spice_710_128_______.add(gdstk.Label('bl_23', (178.7,25.2), layer=51, texttype=0))
c_scn4m_subm_spice_710_128_______.add(gdstk.Label('br_23', (182.7,25.2), layer=51, texttype=0))
c_scn4m_subm_spice_710_128_______.add(gdstk.Label('bl_24', (185.5,25.2), layer=51, texttype=0))
c_scn4m_subm_spice_710_128_______.add(gdstk.Label('br_24', (189.5,25.2), layer=51, texttype=0))
c_scn4m_subm_spice_710_128_______.add(gdstk.Label('bl_25', (192.3,25.2), layer=51, texttype=0))
c_scn4m_subm_spice_710_128_______.add(gdstk.Label('br_25', (196.3,25.2), layer=51, texttype=0))
c_scn4m_subm_spice_710_128_______.add(gdstk.Label('bl_26', (199.1,25.2), layer=51, texttype=0))
c_scn4m_subm_spice_710_128_______.add(gdstk.Label('br_26', (203.1,25.2), layer=51, texttype=0))
c_scn4m_subm_spice_710_128_______.add(gdstk.Label('bl_27', (205.9,25.2), layer=51, texttype=0))
c_scn4m_subm_spice_710_128_______.add(gdstk.Label('br_27', (209.9,25.2), layer=51, texttype=0))
c_scn4m_subm_spice_710_128_______.add(gdstk.Label('bl_28', (212.7,25.2), layer=51, texttype=0))
c_scn4m_subm_spice_710_128_______.add(gdstk.Label('br_28', (216.7,25.2), layer=51, texttype=0))
c_scn4m_subm_spice_710_128_______.add(gdstk.Label('bl_29', (219.5,25.2), layer=51, texttype=0))
c_scn4m_subm_spice_710_128_______.add(gdstk.Label('br_29', (223.5,25.2), layer=51, texttype=0))
c_scn4m_subm_spice_710_128_______.add(gdstk.Label('bl_30', (226.3,25.2), layer=51, texttype=0))
c_scn4m_subm_spice_710_128_______.add(gdstk.Label('br_30', (230.3,25.2), layer=51, texttype=0))
c_scn4m_subm_spice_710_128_______.add(gdstk.Label('bl_31', (233.1,25.2), layer=51, texttype=0))
c_scn4m_subm_spice_710_128_______.add(gdstk.Label('br_31', (237.1,25.2), layer=51, texttype=0))

lib.write_gds('scn4m_subm-spice-710-128x8_column_mux_array.gds')
